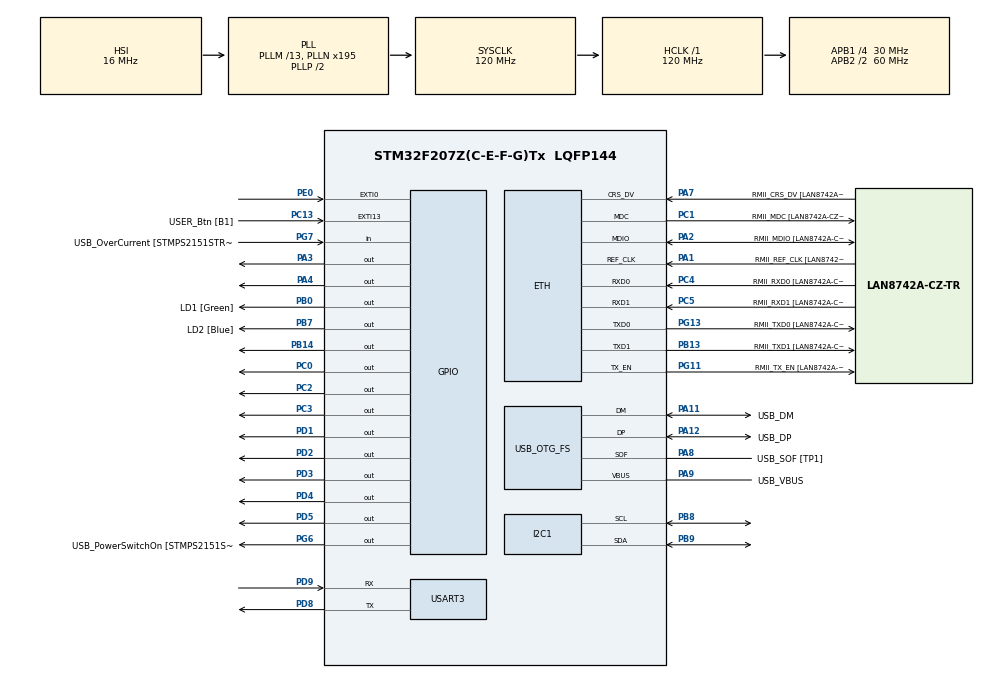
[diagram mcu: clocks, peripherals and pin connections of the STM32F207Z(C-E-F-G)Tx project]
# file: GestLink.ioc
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ETH.MediaInterface=ETH_MEDIA_INTERFACE_RMII
I2C1.I2C_Mode=I2C_Fast
Mcu.Family=STM32F2
Mcu.Name=STM32F207Z(C-E-F-G)Tx
Mcu.Package=LQFP144
NVIC.EXTI15_10_IRQn=true\:0\:0\:false\:false\:true\:true\:true\:true
NVIC.PriorityGroup=NVIC_PRIORITYGROUP_4
PA1.GPIO_Label=RMII_REF_CLK [LAN8742A-CZ-TR_REFCLK0]
PA1.Mode=RMII
PA1.Signal=ETH_REF_CLK
PA10.GPIO_Label=USB_ID
PA10.Signal=USB_OTG_FS_ID
PA11.GPIO_Label=USB_DM
PA11.Mode=Device_Only
PA11.Signal=USB_OTG_FS_DM
PA12.GPIO_Label=USB_DP
PA12.Mode=Device_Only
PA12.Signal=USB_OTG_FS_DP
PA13.GPIO_Label=TMS
PA13.Mode=Serial_Wire
PA13.Signal=SYS_JTMS-SWDIO
PA14.GPIO_Label=TCK
PA14.Mode=Serial_Wire
PA14.Signal=SYS_JTCK-SWCLK
PA2.GPIO_Label=RMII_MDIO [LAN8742A-CZ-TR_MDIO]
PA2.Mode=RMII
PA2.Signal=ETH_MDIO
PA3.Signal=GPIO_Output
PA4.Signal=GPIO_Output
PA7.GPIO_Label=RMII_CRS_DV [LAN8742A-CZ-TR_CRS_DV]
PA7.Mode=RMII
PA7.Signal=ETH_CRS_DV
PA8.GPIO_Label=USB_SOF [TP1]
PA8.Mode=Activate_SOF_FS
PA8.Signal=USB_OTG_FS_SOF
PA9.GPIO_Label=USB_VBUS
PA9.Mode=Activate_VBUS
PA9.Signal=USB_OTG_FS_VBUS
PB0.GPIO_Label=LD1 [Green]
PB0.Signal=GPIO_Output
PB13.GPIO_Label=RMII_TXD1 [LAN8742A-CZ-TR_TXD1]
PB13.Mode=RMII
PB13.Signal=ETH_TXD1
PB14.Signal=GPIO_Output
PB3.GPIO_Label=SWO
PB3.Signal=SYS_JTDO-SWO
PB7.GPIO_Label=LD2 [Blue]
PB7.Signal=GPIO_Output
PB8.GPIO_Mode=GPIO_MODE_AF_OD
PB8.GPIO_Pu=GPIO_PULLUP
PB8.GPIO_Speed=GPIO_SPEED_FREQ_VERY_HIGH
PB8.Mode=I2C
PB8.Signal=I2C1_SCL
PB9.GPIO_Pu=GPIO_PULLUP
PB9.GPIO_Speed=GPIO_SPEED_FREQ_VERY_HIGH
PB9.Mode=I2C
PB9.Signal=I2C1_SDA
PC0.Signal=GPIO_Output
PC1.GPIO_Label=RMII_MDC [LAN8742A-CZ-TR_MDC]
PC1.Mode=RMII
PC1.Signal=ETH_MDC
PC13.GPIO_Label=USER_Btn [B1]
PC13.Signal=GPXTI13
PC14-OSC32_IN.Mode=LSE-External-Oscillator
PC14-OSC32_IN.Signal=RCC_OSC32_IN
PC15-OSC32_OUT.Mode=LSE-External-Oscillator
PC15-OSC32_OUT.Signal=RCC_OSC32_OUT
PC2.Signal=GPIO_Output
PC3.Signal=GPIO_Output
PC4.GPIO_Label=RMII_RXD0 [LAN8742A-CZ-TR_RXD0]
PC4.Mode=RMII
PC4.Signal=ETH_RXD0
PC5.GPIO_Label=RMII_RXD1 [LAN8742A-CZ-TR_RXD1]
PC5.Mode=RMII
PC5.Signal=ETH_RXD1
PD1.Signal=GPIO_Output
PD2.Signal=GPIO_Output
PD3.Signal=GPIO_Output
PD4.Signal=GPIO_Output
PD5.Signal=GPIO_Output
PD8.GPIO_ModeDefaultPP=GPIO_MODE_AF_PP
PD8.GPIO_PuPd=GPIO_NOPULL
PD8.GPIO_Speed=GPIO_SPEED_FREQ_VERY_HIGH
PD8.Mode=Asynchronous
PD8.Signal=USART3_TX
PD9.GPIO_ModeDefaultPP=GPIO_MODE_AF_PP
PD9.GPIO_PuPd=GPIO_NOPULL
PD9.GPIO_Speed=GPIO_SPEED_FREQ_VERY_HIGH
PD9.Mode=Asynchronous
PD9.Signal=USART3_RX
PE0.GPIO_ModeDefaultEXTI=GPIO_MODE_IT_FALLING
PE0.Signal=GPXTI0
PG11.GPIO_Label=RMII_TX_EN [LAN8742A-CZ-TR_TXEN]
PG11.Mode=RMII
PG11.Signal=ETH_TX_EN
PG13.GPIO_Label=RMII_TXD0 [LAN8742A-CZ-TR_TXD0]
PG13.Mode=RMII
PG13.Signal=ETH_TXD0
PG6.GPIO_Label=USB_PowerSwitchOn [STMPS2151STR_EN]
PG6.Signal=GPIO_Output
PG7.GPIO_Label=USB_OverCurrent [STMPS2151STR_FAULT]
PG7.Signal=GPIO_Input
PH0-OSC_IN.GPIO_Label=MCO [STM32F103CBT6_PA8]
PH0-OSC_IN.Mode=HSE-External-Clock-Source
PH0-OSC_IN.Signal=RCC_OSC_IN
PH1-OSC_OUT.Mode=HSE-External-Clock-Source
PH1-OSC_OUT.Signal=RCC_OSC_OUT
ProjectManager.HeapSize=0x200
ProjectManager.StackSize=0x400
ProjectManager.TargetToolchain=STM32CubeIDE
RCC.48MHZClocksFreq_Value=48000000
RCC.AHBFreq_Value=120000000
RCC.APB1CLKDivider=RCC_HCLK_DIV4
RCC.APB1Freq_Value=30000000
RCC.APB1TimFreq_Value=60000000
RCC.APB2CLKDivider=RCC_HCLK_DIV2
RCC.APB2Freq_Value=60000000
RCC.APB2TimFreq_Value=120000000
RCC.CortexFreq_Value=120000000
RCC.HCLKFreq_Value=120000000
RCC.HSE_VALUE=8000000
RCC.HSI_VALUE=16000000
RCC.PLLM=13
RCC.PLLMUL=RCC_PLL_MUL9
RCC.PLLN=195
RCC.PLLQ=5
RCC.PRESCALERUSB=RCC_USBCLKSOURCE_PLL_DIV1_5
RCC.SYSCLKFreq_VALUE=120000000
RCC.SYSCLKSource=RCC_SYSCLKSOURCE_PLLCLK
RCC.SYSCLKSourceVirtual=RCC_SYSCLKSOURCE_PLLCLK
RCC.USBFreq_Value=48000000
RCC.VCOOutputFreq_Value=240000000
USART3.VirtualMode=VM_ASYNC
USB_OTG_FS.VirtualMode=Device_Only
board=NUCLEO-F207ZG

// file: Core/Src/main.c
/* USER CODE BEGIN Header */
/**
  ******************************************************************************
  * @file           : main.c
  * @brief          : Main program body
  ******************************************************************************
  * @attention
  *
  * Copyright (c) 2025 STMicroelectronics.
  * All rights reserved.
  *
  * This software is licensed under terms that can be found in the LICENSE file
  * in the root directory of this software component.
  * If no LICENSE file comes with this software, it is provided AS-IS.
  *
  ******************************************************************************
  */
/* USER CODE END Header */
#include "main.h"

/* USER CODE BEGIN Includes */
#include<stdio.h>
#include "gesture_utility.h"
#include "paj7660.h"
/* USER CODE END Includes */

ETH_HandleTypeDef heth;

I2C_HandleTypeDef hi2c1;

UART_HandleTypeDef huart3;

PCD_HandleTypeDef hpcd_USB_OTG_FS;

void SystemClock_Config(void);
static void MX_GPIO_Init(void);
static void MX_USART3_UART_Init(void);
static void MX_USB_OTG_FS_PCD_Init(void);
static void MX_I2C1_Init(void);
static void MX_ETH_Init(void);

/* USER CODE BEGIN 0 */
int _write(int file, char *ptr, int len){
	HAL_UART_Transmit(&huart3, (uint8_t *)ptr, len, 100);
	return len;
}
/* USER CODE END 0 */

int main(void)
{

  /* USER CODE BEGIN 1 */
//	char tx_buffer[] = "GestLink UART Debug Test\r\n";
  /* USER CODE END 1 */

  /* MCU Configuration--------------------------------------------------------*/

  /* Reset of all peripherals, Initializes the Flash interface and the Systick. */
  HAL_Init();

  /* Configure the system clock */
  SystemClock_Config();

  /* Initialize all configured peripherals */
  MX_GPIO_Init();
  MX_USART3_UART_Init();
  MX_USB_OTG_FS_PCD_Init();
  MX_I2C1_Init();
  MX_ETH_Init();
  /* USER CODE BEGIN 2 */
  if (PAJ7660_Init(&hi2c1)) {
	  printf("PAJ7660 init success!");
  }
  else{
	  printf("PAJ7660 init failed");
  }
  /* USER CODE END 2 */

  /* Infinite loop */
  /* USER CODE BEGIN WHILE */
  while (1)
  {
	  uint8_t gesture = PAJ7660_PollGesture();
	  if(gesture != GESTURE_NONE){
		  printf("Gesture code: %d\r\n", gesture);

	  switch(gesture){
		  case GESTURE_1_FINGER: break;
		  case GESTURE_2_FINGER: break;
		  case GESTURE_3_FINGER: break;
		  case GESTURE_4_FINGER: break;
		  case GESTURE_5_FINGER: break;
		  default: break;
	  	  }
	  }
	  HAL_Delay(150);

    /* USER CODE END WHILE */

    /* USER CODE BEGIN 3 */
	  uint8_t current_gesture_id = read_gesture_id(); // You will implement this later

	      if (current_gesture_id != 0) // Only update feedback if a new gesture is detected
	      {
	          gesture_feedback(current_gesture_id);
	      }

	      HAL_Delay(500);
  }
  /* USER CODE END 3 */
}

void SystemClock_Config(void)
{
  RCC_OscInitTypeDef RCC_OscInitStruct = {0};
  RCC_ClkInitTypeDef RCC_ClkInitStruct = {0};

  /** Initializes the RCC Oscillators according to the specified parameters
  * in the RCC_OscInitTypeDef structure.
  */
  RCC_OscInitStruct.OscillatorType = RCC_OSCILLATORTYPE_HSI;
  RCC_OscInitStruct.HSIState = RCC_HSI_ON;
  RCC_OscInitStruct.HSICalibrationValue = RCC_HSICALIBRATION_DEFAULT;
  RCC_OscInitStruct.PLL.PLLState = RCC_PLL_ON;
  RCC_OscInitStruct.PLL.PLLSource = RCC_PLLSOURCE_HSI;
  RCC_OscInitStruct.PLL.PLLM = 13;
  RCC_OscInitStruct.PLL.PLLN = 195;
  RCC_OscInitStruct.PLL.PLLP = RCC_PLLP_DIV2;
  RCC_OscInitStruct.PLL.PLLQ = 5;
  if (HAL_RCC_OscConfig(&RCC_OscInitStruct) != HAL_OK)
  {
    Error_Handler();
  }

  /** Initializes the CPU, AHB and APB buses clocks
  */
  RCC_ClkInitStruct.ClockType = RCC_CLOCKTYPE_HCLK|RCC_CLOCKTYPE_SYSCLK
                              |RCC_CLOCKTYPE_PCLK1|RCC_CLOCKTYPE_PCLK2;
  RCC_ClkInitStruct.SYSCLKSource = RCC_SYSCLKSOURCE_PLLCLK;
  RCC_ClkInitStruct.AHBCLKDivider = RCC_SYSCLK_DIV1;
  RCC_ClkInitStruct.APB1CLKDivider = RCC_HCLK_DIV4;
  RCC_ClkInitStruct.APB2CLKDivider = RCC_HCLK_DIV2;

  if (HAL_RCC_ClockConfig(&RCC_ClkInitStruct, FLASH_LATENCY_3) != HAL_OK)
  {
    Error_Handler();
  }
}

static void MX_ETH_Init(void)
{

   static uint8_t MACAddr[6];

  heth.Instance = ETH;
  heth.Init.AutoNegotiation = ETH_AUTONEGOTIATION_ENABLE;
  heth.Init.Speed = ETH_SPEED_100M;
  heth.Init.DuplexMode = ETH_MODE_FULLDUPLEX;
  heth.Init.PhyAddress = LAN8742A_PHY_ADDRESS;
  MACAddr[0] = 0x00;
  MACAddr[1] = 0x80;
  MACAddr[2] = 0xE1;
  MACAddr[3] = 0x00;
  MACAddr[4] = 0x00;
  MACAddr[5] = 0x00;
  heth.Init.MACAddr = &MACAddr[0];
  heth.Init.RxMode = ETH_RXPOLLING_MODE;
  heth.Init.ChecksumMode = ETH_CHECKSUM_BY_HARDWARE;
  heth.Init.MediaInterface = ETH_MEDIA_INTERFACE_RMII;

  if (HAL_ETH_Init(&heth) != HAL_OK)
  {
    Error_Handler();
  }

}

static void MX_I2C1_Init(void)
{

  hi2c1.Instance = I2C1;
  hi2c1.Init.ClockSpeed = 400000;
  hi2c1.Init.DutyCycle = I2C_DUTYCYCLE_2;
  hi2c1.Init.OwnAddress1 = 0;
  hi2c1.Init.AddressingMode = I2C_ADDRESSINGMODE_7BIT;
  hi2c1.Init.DualAddressMode = I2C_DUALADDRESS_DISABLE;
  hi2c1.Init.OwnAddress2 = 0;
  hi2c1.Init.GeneralCallMode = I2C_GENERALCALL_DISABLE;
  hi2c1.Init.NoStretchMode = I2C_NOSTRETCH_DISABLE;
  if (HAL_I2C_Init(&hi2c1) != HAL_OK)
  {
    Error_Handler();
  }

}

static void MX_USART3_UART_Init(void)
{

  huart3.Instance = USART3;
  huart3.Init.BaudRate = 115200;
  huart3.Init.WordLength = UART_WORDLENGTH_8B;
  huart3.Init.StopBits = UART_STOPBITS_1;
  huart3.Init.Parity = UART_PARITY_NONE;
  huart3.Init.Mode = UART_MODE_TX_RX;
  huart3.Init.HwFlowCtl = UART_HWCONTROL_NONE;
  huart3.Init.OverSampling = UART_OVERSAMPLING_16;
  if (HAL_UART_Init(&huart3) != HAL_OK)
  {
    Error_Handler();
  }

}

static void MX_USB_OTG_FS_PCD_Init(void)
{

  hpcd_USB_OTG_FS.Instance = USB_OTG_FS;
  hpcd_USB_OTG_FS.Init.dev_endpoints = 4;
  hpcd_USB_OTG_FS.Init.speed = PCD_SPEED_FULL;
  hpcd_USB_OTG_FS.Init.dma_enable = DISABLE;
  hpcd_USB_OTG_FS.Init.phy_itface = PCD_PHY_EMBEDDED;
  hpcd_USB_OTG_FS.Init.Sof_enable = ENABLE;
  hpcd_USB_OTG_FS.Init.low_power_enable = DISABLE;
  hpcd_USB_OTG_FS.Init.vbus_sensing_enable = ENABLE;
  hpcd_USB_OTG_FS.Init.use_dedicated_ep1 = DISABLE;
  if (HAL_PCD_Init(&hpcd_USB_OTG_FS) != HAL_OK)
  {
    Error_Handler();
  }

}

static void MX_GPIO_Init(void)
{
  GPIO_InitTypeDef GPIO_InitStruct = {0};

  /* GPIO Ports Clock Enable */
  __HAL_RCC_GPIOC_CLK_ENABLE();
  __HAL_RCC_GPIOH_CLK_ENABLE();
  __HAL_RCC_GPIOA_CLK_ENABLE();
  __HAL_RCC_GPIOB_CLK_ENABLE();
  __HAL_RCC_GPIOD_CLK_ENABLE();
  __HAL_RCC_GPIOG_CLK_ENABLE();
  __HAL_RCC_GPIOE_CLK_ENABLE();

  /*Configure GPIO pin Output Level */
  HAL_GPIO_WritePin(GPIOC, GPIO_PIN_0|GPIO_PIN_2|GPIO_PIN_3, GPIO_PIN_RESET);

  /*Configure GPIO pin Output Level */
  HAL_GPIO_WritePin(GPIOA, GPIO_PIN_3|GPIO_PIN_4, GPIO_PIN_RESET);

  /*Configure GPIO pin Output Level */
  HAL_GPIO_WritePin(GPIOB, LD1_Pin|GPIO_PIN_14|LD2_Pin, GPIO_PIN_RESET);

  /*Configure GPIO pin Output Level */
  HAL_GPIO_WritePin(USB_PowerSwitchOn_GPIO_Port, USB_PowerSwitchOn_Pin, GPIO_PIN_RESET);

  /*Configure GPIO pin Output Level */
  HAL_GPIO_WritePin(GPIOD, GPIO_PIN_1|GPIO_PIN_2|GPIO_PIN_3|GPIO_PIN_4
                          |GPIO_PIN_5, GPIO_PIN_RESET);

  /*Configure GPIO pin : USER_Btn_Pin */
  GPIO_InitStruct.Pin = USER_Btn_Pin;
  GPIO_InitStruct.Mode = GPIO_MODE_IT_RISING;
  GPIO_InitStruct.Pull = GPIO_NOPULL;
  HAL_GPIO_Init(USER_Btn_GPIO_Port, &GPIO_InitStruct);

  /*Configure GPIO pins : PC0 PC2 PC3 */
  GPIO_InitStruct.Pin = GPIO_PIN_0|GPIO_PIN_2|GPIO_PIN_3;
  GPIO_InitStruct.Mode = GPIO_MODE_OUTPUT_PP;
  GPIO_InitStruct.Pull = GPIO_NOPULL;
  GPIO_InitStruct.Speed = GPIO_SPEED_FREQ_LOW;
  HAL_GPIO_Init(GPIOC, &GPIO_InitStruct);

  /*Configure GPIO pins : PA3 PA4 */
  GPIO_InitStruct.Pin = GPIO_PIN_3|GPIO_PIN_4;
  GPIO_InitStruct.Mode = GPIO_MODE_OUTPUT_PP;
  GPIO_InitStruct.Pull = GPIO_NOPULL;
  GPIO_InitStruct.Speed = GPIO_SPEED_FREQ_LOW;
  HAL_GPIO_Init(GPIOA, &GPIO_InitStruct);

  /*Configure GPIO pins : LD1_Pin PB14 LD2_Pin */
  GPIO_InitStruct.Pin = LD1_Pin|GPIO_PIN_14|LD2_Pin;
  GPIO_InitStruct.Mode = GPIO_MODE_OUTPUT_PP;
  GPIO_InitStruct.Pull = GPIO_NOPULL;
  GPIO_InitStruct.Speed = GPIO_SPEED_FREQ_LOW;
  HAL_GPIO_Init(GPIOB, &GPIO_InitStruct);

  /*Configure GPIO pin : USB_PowerSwitchOn_Pin */
  GPIO_InitStruct.Pin = USB_PowerSwitchOn_Pin;
  GPIO_InitStruct.Mode = GPIO_MODE_OUTPUT_PP;
  GPIO_InitStruct.Pull = GPIO_NOPULL;
  GPIO_InitStruct.Speed = GPIO_SPEED_FREQ_LOW;
  HAL_GPIO_Init(USB_PowerSwitchOn_GPIO_Port, &GPIO_InitStruct);

  /*Configure GPIO pin : USB_OverCurrent_Pin */
  GPIO_InitStruct.Pin = USB_OverCurrent_Pin;
  GPIO_InitStruct.Mode = GPIO_MODE_INPUT;
  GPIO_InitStruct.Pull = GPIO_NOPULL;
  HAL_GPIO_Init(USB_OverCurrent_GPIO_Port, &GPIO_InitStruct);

  /*Configure GPIO pins : PD1 PD2 PD3 PD4
                           PD5 */
  GPIO_InitStruct.Pin = GPIO_PIN_1|GPIO_PIN_2|GPIO_PIN_3|GPIO_PIN_4
                          |GPIO_PIN_5;
  GPIO_InitStruct.Mode = GPIO_MODE_OUTPUT_PP;
  GPIO_InitStruct.Pull = GPIO_NOPULL;
  GPIO_InitStruct.Speed = GPIO_SPEED_FREQ_LOW;
  HAL_GPIO_Init(GPIOD, &GPIO_InitStruct);

  /*Configure GPIO pin : PE0 */
  GPIO_InitStruct.Pin = GPIO_PIN_0;
  GPIO_InitStruct.Mode = GPIO_MODE_IT_FALLING;
  GPIO_InitStruct.Pull = GPIO_NOPULL;
  HAL_GPIO_Init(GPIOE, &GPIO_InitStruct);

  /* EXTI interrupt init*/
  HAL_NVIC_SetPriority(EXTI15_10_IRQn, 0, 0);
  HAL_NVIC_EnableIRQ(EXTI15_10_IRQn);

}

void Error_Handler(void)
{
  __disable_irq();
  while (1)
  {
  }
}
